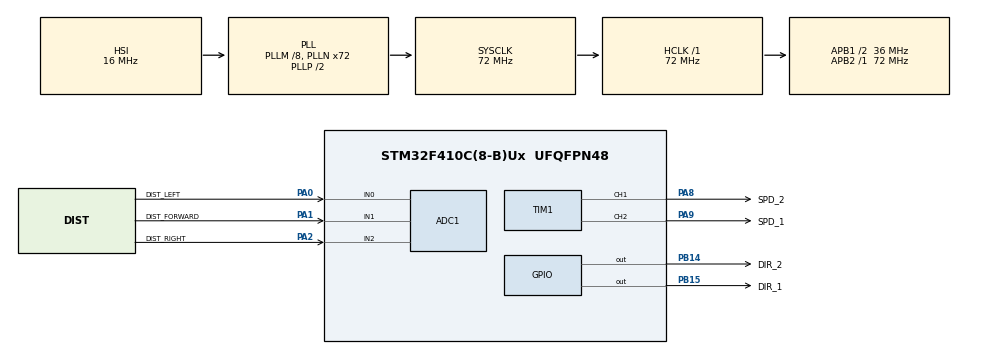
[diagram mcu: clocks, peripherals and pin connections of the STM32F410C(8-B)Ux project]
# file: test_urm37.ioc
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ADC1.Channel-0\#ChannelRegularConversion=ADC_CHANNEL_0
ADC1.Channel-3\#ChannelInjectedConversion=ADC_CHANNEL_0
ADC1.Channel-4\#ChannelInjectedConversion=ADC_CHANNEL_0
ADC1.Channel-5\#ChannelInjectedConversion=ADC_CHANNEL_0
ADC1.ClockPrescaler=ADC_CLOCK_SYNC_PCLK_DIV6
ADC1.InjNumberOfConversion=3
ADC1.InjectedConvMode=None
ADC1.InjectedOffset-3\#ChannelInjectedConversion=0
ADC1.InjectedOffset-4\#ChannelInjectedConversion=0
ADC1.InjectedOffset-5\#ChannelInjectedConversion=0
ADC1.InjectedRank-3\#ChannelInjectedConversion=1
ADC1.InjectedRank-4\#ChannelInjectedConversion=2
ADC1.InjectedRank-5\#ChannelInjectedConversion=3
ADC1.NbrOfConversion=1
ADC1.NbrOfConversionFlag=1
ADC1.Rank-0\#ChannelRegularConversion=1
ADC1.SamplingTime-0\#ChannelRegularConversion=ADC_SAMPLETIME_3CYCLES
ADC1.SamplingTime-3\#ChannelInjectedConversion=ADC_SAMPLETIME_3CYCLES
ADC1.SamplingTime-4\#ChannelInjectedConversion=ADC_SAMPLETIME_3CYCLES
ADC1.SamplingTime-5\#ChannelInjectedConversion=ADC_SAMPLETIME_3CYCLES
ADC1.master=1
FREERTOS.Tasks01=defaultTask,24,128,StartDefaultTask,Default,NULL,Dynamic,NULL,NULL;urmTask,8,128,StartUrmTask,Default,NULL,Dynamic,NULL,NULL
Mcu.Family=STM32F4
Mcu.Name=STM32F410C(8-B)Ux
Mcu.Package=UFQFPN48
NVIC.PriorityGroup=NVIC_PRIORITYGROUP_4
PA0-WKUP.GPIO_Label=DIST_LEFT
PA0-WKUP.Signal=ADCx_IN0
PA1.GPIO_Label=DIST_FORWARD
PA1.Signal=ADCx_IN1
PA2.GPIO_Label=DIST_RIGHT
PA2.Signal=ADCx_IN2
PA8.GPIO_Label=SPD_2
PA8.Signal=S_TIM1_CH1
PA9.GPIO_Label=SPD_1
PA9.Signal=S_TIM1_CH2
PB14.GPIO_Label=DIR_2
PB14.Signal=GPIO_Output
PB15.GPIO_Label=DIR_1
PB15.Signal=GPIO_Output
PH0\ -\ OSC_IN.Mode=HSE-External-Oscillator
PH0\ -\ OSC_IN.Signal=RCC_OSC_IN
PH1\ -\ OSC_OUT.Mode=HSE-External-Oscillator
PH1\ -\ OSC_OUT.Signal=RCC_OSC_OUT
ProjectManager.HeapSize=0x200
ProjectManager.StackSize=0x400
ProjectManager.TargetToolchain=MDK-ARM V5.32
RCC.48MHZClocksFreq_Value=36000000
RCC.AHBFreq_Value=72000000
RCC.APB1CLKDivider=RCC_HCLK_DIV2
RCC.APB1Freq_Value=36000000
RCC.APB1TimFreq_Value=72000000
RCC.APB2Freq_Value=72000000
RCC.APB2TimFreq_Value=72000000
RCC.CortexFreq_Value=72000000
RCC.HCLKFreq_Value=72000000
RCC.HSE_VALUE=25000000
RCC.HSI_VALUE=16000000
RCC.LSE_VALUE=32768
RCC.PLLM=8
RCC.PLLN=72
RCC.SYSCLKFreq_VALUE=72000000
RCC.SYSCLKSource=RCC_SYSCLKSOURCE_PLLCLK
RCC.VCOOutputFreq_Value=144000000
SH.ADCx_IN0.0=ADC1_IN0,IN0
SH.ADCx_IN1.0=ADC1_IN1,IN1
SH.ADCx_IN2.0=ADC1_IN2,IN2
SH.S_TIM1_CH1.0=TIM1_CH1,PWM Generation1 CH1
SH.S_TIM1_CH2.0=TIM1_CH2,PWM Generation2 CH2
TIM1.Channel-PWM\ Generation1\ CH1=TIM_CHANNEL_1
TIM1.Channel-PWM\ Generation2\ CH2=TIM_CHANNEL_2
TIM1.Pulse-PWM\ Generation1\ CH1=65535/2
TIM1.Pulse-PWM\ Generation2\ CH2=65535/2
VP_FREERTOS_VS_CMSIS_V2.Mode=CMSIS_V2
board=custom

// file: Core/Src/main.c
/* USER CODE BEGIN Header */
/**
  ******************************************************************************
  * @file           : main.c
  * @brief          : Main program body
  ******************************************************************************
  * @attention
  *
  * Copyright (c) 2024 STMicroelectronics.
  * All rights reserved.
  *
  * This software is licensed under terms that can be found in the LICENSE file
  * in the root directory of this software component.
  * If no LICENSE file comes with this software, it is provided AS-IS.
  *
  ******************************************************************************
  */
/* USER CODE END Header */
#include "main.h"
#include "cmsis_os.h"
/* USER CODE BEGIN Includes */
#include "logic.h"
/* USER CODE END Includes */

/* USER CODE BEGIN PM */
#define URM_COEFFICIENT 1.1
#define ACCELERATION 1
#define OBSTACKLE_RANGE 3

/* USER CODE END PM */

ADC_HandleTypeDef hadc1;

TIM_HandleTypeDef htim1;

/* Definitions for defaultTask */
osThreadId_t defaultTaskHandle;
const osThreadAttr_t defaultTask_attributes = {
  .name = "defaultTask",
  .stack_size = 128 * 4,
  .priority = (osPriority_t) osPriorityNormal,
};
/* Definitions for urmTask */
osThreadId_t urmTaskHandle;
const osThreadAttr_t urmTask_attributes = {
  .name = "urmTask",
  .stack_size = 128 * 4,
  .priority = (osPriority_t) osPriorityLow,
};
/* USER CODE BEGIN PV */
volatile uint16_t left_dist = 0;
volatile uint16_t forward_dist = 0;
volatile uint16_t right_dist = 0;

/* USER CODE END PV */

void SystemClock_Config(void);
static void MX_GPIO_Init(void);
static void MX_ADC1_Init(void);
static void MX_TIM1_Init(void);
void StartDefaultTask(void *argument);
void StartUrmTask(void *argument);

int main(void)
{

  /* MCU Configuration--------------------------------------------------------*/

  /* Reset of all peripherals, Initializes the Flash interface and the Systick. */
  HAL_Init();

  /* Configure the system clock */
  SystemClock_Config();

  /* Initialize all configured peripherals */
  MX_GPIO_Init();
  MX_ADC1_Init();
  MX_TIM1_Init();

  /* Init scheduler */
  osKernelInitialize();

  /* Create the thread(s) */
  /* creation of defaultTask */
  defaultTaskHandle = osThreadNew(StartDefaultTask, NULL, &defaultTask_attributes);

  /* creation of urmTask */
  urmTaskHandle = osThreadNew(StartUrmTask, NULL, &urmTask_attributes);

  /* Start scheduler */
  osKernelStart();

  /* We should never get here as control is now taken by the scheduler */

  /* Infinite loop */
  while (1)
  {

  }
}

void SystemClock_Config(void)
{
  RCC_OscInitTypeDef RCC_OscInitStruct = {0};
  RCC_ClkInitTypeDef RCC_ClkInitStruct = {0};

  /** Configure the main internal regulator output voltage
  */
  __HAL_RCC_PWR_CLK_ENABLE();
  __HAL_PWR_VOLTAGESCALING_CONFIG(PWR_REGULATOR_VOLTAGE_SCALE1);

  /** Initializes the RCC Oscillators according to the specified parameters
  * in the RCC_OscInitTypeDef structure.
  */
  RCC_OscInitStruct.OscillatorType = RCC_OSCILLATORTYPE_HSI;
  RCC_OscInitStruct.HSIState = RCC_HSI_ON;
  RCC_OscInitStruct.HSICalibrationValue = RCC_HSICALIBRATION_DEFAULT;
  RCC_OscInitStruct.PLL.PLLState = RCC_PLL_ON;
  RCC_OscInitStruct.PLL.PLLSource = RCC_PLLSOURCE_HSI;
  RCC_OscInitStruct.PLL.PLLM = 8;
  RCC_OscInitStruct.PLL.PLLN = 72;
  RCC_OscInitStruct.PLL.PLLP = RCC_PLLP_DIV2;
  RCC_OscInitStruct.PLL.PLLQ = 4;
  RCC_OscInitStruct.PLL.PLLR = 2;
  if (HAL_RCC_OscConfig(&RCC_OscInitStruct) != HAL_OK)
  {
    Error_Handler();
  }

  /** Initializes the CPU, AHB and APB buses clocks
  */
  RCC_ClkInitStruct.ClockType = RCC_CLOCKTYPE_HCLK|RCC_CLOCKTYPE_SYSCLK
                              |RCC_CLOCKTYPE_PCLK1|RCC_CLOCKTYPE_PCLK2;
  RCC_ClkInitStruct.SYSCLKSource = RCC_SYSCLKSOURCE_PLLCLK;
  RCC_ClkInitStruct.AHBCLKDivider = RCC_SYSCLK_DIV1;
  RCC_ClkInitStruct.APB1CLKDivider = RCC_HCLK_DIV2;
  RCC_ClkInitStruct.APB2CLKDivider = RCC_HCLK_DIV1;

  if (HAL_RCC_ClockConfig(&RCC_ClkInitStruct, FLASH_LATENCY_2) != HAL_OK)
  {
    Error_Handler();
  }
}

static void MX_ADC1_Init(void)
{

  ADC_ChannelConfTypeDef sConfig = {0};
  ADC_InjectionConfTypeDef sConfigInjected = {0};

  /** Configure the global features of the ADC (Clock, Resolution, Data Alignment and number of conversion)
  */
  hadc1.Instance = ADC1;
  hadc1.Init.ClockPrescaler = ADC_CLOCK_SYNC_PCLK_DIV6;
  hadc1.Init.Resolution = ADC_RESOLUTION_12B;
  hadc1.Init.ScanConvMode = ENABLE;
  hadc1.Init.ContinuousConvMode = DISABLE;
  hadc1.Init.DiscontinuousConvMode = DISABLE;
  hadc1.Init.ExternalTrigConvEdge = ADC_EXTERNALTRIGCONVEDGE_NONE;
  hadc1.Init.ExternalTrigConv = ADC_SOFTWARE_START;
  hadc1.Init.DataAlign = ADC_DATAALIGN_RIGHT;
  hadc1.Init.NbrOfConversion = 1;
  hadc1.Init.DMAContinuousRequests = DISABLE;
  hadc1.Init.EOCSelection = ADC_EOC_SINGLE_CONV;
  if (HAL_ADC_Init(&hadc1) != HAL_OK)
  {
    Error_Handler();
  }

  /** Configure for the selected ADC regular channel its corresponding rank in the sequencer and its sample time.
  */
  sConfig.Channel = ADC_CHANNEL_0;
  sConfig.Rank = 1;
  sConfig.SamplingTime = ADC_SAMPLETIME_3CYCLES;
  if (HAL_ADC_ConfigChannel(&hadc1, &sConfig) != HAL_OK)
  {
    Error_Handler();
  }

  /** Configures for the selected ADC injected channel its corresponding rank in the sequencer and its sample time
  */
  sConfigInjected.InjectedChannel = ADC_CHANNEL_0;
  sConfigInjected.InjectedRank = 1;
  sConfigInjected.InjectedNbrOfConversion = 3;
  sConfigInjected.InjectedSamplingTime = ADC_SAMPLETIME_3CYCLES;
  sConfigInjected.ExternalTrigInjecConvEdge = ADC_EXTERNALTRIGINJECCONVEDGE_NONE;
  sConfigInjected.ExternalTrigInjecConv = ADC_INJECTED_SOFTWARE_START;
  sConfigInjected.AutoInjectedConv = DISABLE;
  sConfigInjected.InjectedDiscontinuousConvMode = DISABLE;
  sConfigInjected.InjectedOffset = 0;
  if (HAL_ADCEx_InjectedConfigChannel(&hadc1, &sConfigInjected) != HAL_OK)
  {
    Error_Handler();
  }

  /** Configures for the selected ADC injected channel its corresponding rank in the sequencer and its sample time
  */
  sConfigInjected.InjectedRank = 2;
  if (HAL_ADCEx_InjectedConfigChannel(&hadc1, &sConfigInjected) != HAL_OK)
  {
    Error_Handler();
  }

  /** Configures for the selected ADC injected channel its corresponding rank in the sequencer and its sample time
  */
  sConfigInjected.InjectedRank = 3;
  if (HAL_ADCEx_InjectedConfigChannel(&hadc1, &sConfigInjected) != HAL_OK)
  {
    Error_Handler();
  }

}

static void MX_TIM1_Init(void)
{

  TIM_MasterConfigTypeDef sMasterConfig = {0};
  TIM_OC_InitTypeDef sConfigOC = {0};
  TIM_BreakDeadTimeConfigTypeDef sBreakDeadTimeConfig = {0};

  htim1.Instance = TIM1;
  htim1.Init.Prescaler = 0;
  htim1.Init.CounterMode = TIM_COUNTERMODE_UP;
  htim1.Init.Period = 65535;
  htim1.Init.ClockDivision = TIM_CLOCKDIVISION_DIV1;
  htim1.Init.RepetitionCounter = 0;
  htim1.Init.AutoReloadPreload = TIM_AUTORELOAD_PRELOAD_DISABLE;
  if (HAL_TIM_PWM_Init(&htim1) != HAL_OK)
  {
    Error_Handler();
  }
  sMasterConfig.MasterOutputTrigger = TIM_TRGO_RESET;
  sMasterConfig.MasterSlaveMode = TIM_MASTERSLAVEMODE_DISABLE;
  if (HAL_TIMEx_MasterConfigSynchronization(&htim1, &sMasterConfig) != HAL_OK)
  {
    Error_Handler();
  }
  sConfigOC.OCMode = TIM_OCMODE_PWM1;
  sConfigOC.Pulse = 65535/2;
  sConfigOC.OCPolarity = TIM_OCPOLARITY_HIGH;
  sConfigOC.OCNPolarity = TIM_OCNPOLARITY_HIGH;
  sConfigOC.OCFastMode = TIM_OCFAST_DISABLE;
  sConfigOC.OCIdleState = TIM_OCIDLESTATE_RESET;
  sConfigOC.OCNIdleState = TIM_OCNIDLESTATE_RESET;
  if (HAL_TIM_PWM_ConfigChannel(&htim1, &sConfigOC, TIM_CHANNEL_1) != HAL_OK)
  {
    Error_Handler();
  }
  if (HAL_TIM_PWM_ConfigChannel(&htim1, &sConfigOC, TIM_CHANNEL_2) != HAL_OK)
  {
    Error_Handler();
  }
  sBreakDeadTimeConfig.OffStateRunMode = TIM_OSSR_DISABLE;
  sBreakDeadTimeConfig.OffStateIDLEMode = TIM_OSSI_DISABLE;
  sBreakDeadTimeConfig.LockLevel = TIM_LOCKLEVEL_OFF;
  sBreakDeadTimeConfig.DeadTime = 0;
  sBreakDeadTimeConfig.BreakState = TIM_BREAK_DISABLE;
  sBreakDeadTimeConfig.BreakPolarity = TIM_BREAKPOLARITY_HIGH;
  sBreakDeadTimeConfig.AutomaticOutput = TIM_AUTOMATICOUTPUT_DISABLE;
  if (HAL_TIMEx_ConfigBreakDeadTime(&htim1, &sBreakDeadTimeConfig) != HAL_OK)
  {
    Error_Handler();
  }
  HAL_TIM_MspPostInit(&htim1);

}

static void MX_GPIO_Init(void)
{
  GPIO_InitTypeDef GPIO_InitStruct = {0};

  /* GPIO Ports Clock Enable */
  __HAL_RCC_GPIOH_CLK_ENABLE();
  __HAL_RCC_GPIOA_CLK_ENABLE();
  __HAL_RCC_GPIOB_CLK_ENABLE();

  /*Configure GPIO pin Output Level */
  HAL_GPIO_WritePin(GPIOB, DIR_2_Pin|DIR_1_Pin, GPIO_PIN_RESET);

  /*Configure GPIO pins : DIR_2_Pin DIR_1_Pin */
  GPIO_InitStruct.Pin = DIR_2_Pin|DIR_1_Pin;
  GPIO_InitStruct.Mode = GPIO_MODE_OUTPUT_PP;
  GPIO_InitStruct.Pull = GPIO_NOPULL;
  GPIO_InitStruct.Speed = GPIO_SPEED_FREQ_LOW;
  HAL_GPIO_Init(GPIOB, &GPIO_InitStruct);

}

void StartDefaultTask(void *argument)
{
  /* USER CODE BEGIN 5 */
	set_dir(FORWARD);
	set_speed(SPEED_MIN);
	int i = SPEED_MIN;
  /* Infinite loop */
  for(;;)
  {
		if(forward_dist < OBSTACKLE_RANGE){
			if(i < SPEED_MAX){
				i+= ACCELERATION;
				set_speed(i);
			}
			move();
		} else {
		///////////////////
		//USER CODE LOGIC//
		///////////////////

		}

    osDelay(1);
  }
  /* USER CODE END 5 */
}

void StartUrmTask(void *argument)
{
  /* USER CODE BEGIN StartUrmTask */
  /* Infinite loop */
  for(;;)
  {
		//read distance values
		HAL_ADCEx_InjectedStart(&hadc1);
		HAL_ADCEx_InjectedPollForConversion(&hadc1,100);
		left_dist = HAL_ADCEx_InjectedGetValue(&hadc1, ADC_INJECTED_RANK_1) * URM_COEFFICIENT;
		forward_dist = HAL_ADCEx_InjectedGetValue(&hadc1, ADC_INJECTED_RANK_2) * URM_COEFFICIENT;
		right_dist = HAL_ADCEx_InjectedGetValue(&hadc1, ADC_INJECTED_RANK_3) * URM_COEFFICIENT;

    osDelay(100);
  }
  /* USER CODE END StartUrmTask */
}

void Error_Handler(void)
{
  __disable_irq();
  while (1)
  {
  }
}
